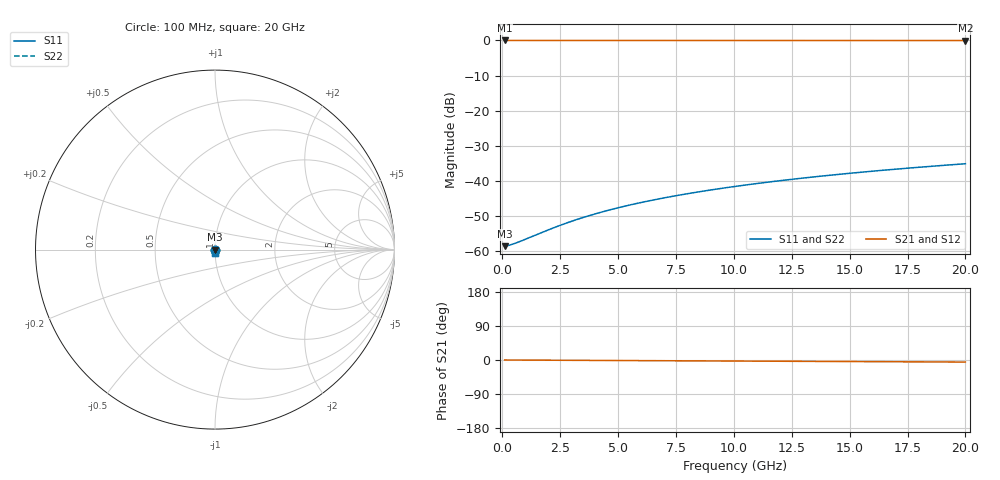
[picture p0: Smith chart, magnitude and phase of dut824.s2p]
! Touchstone file exported from HFSS 2026.1.0
!  File:  C:/ffzhzh/LocalFiles/Ansys_Project_Files/temp_train_TSV_824_1783184540_22436.aedt
!  Generated:  01:04:07 AM Jul  5, 2026
!  Design:  TSV
!  Project:  temp_train_TSV_824_1783184540_22436
! Variables:
!  h_bsmrdl = 2um
!  h_ox = 20um
!  h_rdl = 5um
!  h_sub = 58.23um
!  h_tmrdl = 5um
!  h_tsv = 58.23um
!  h_via = 3um
!  l_bsmrdl = 300um
!  l_sub = 404.82um
!  l_tmrdl = 200um
!  m_sub = 200um
!  pitch = 8.08um
!  r_tsv = 2.41um
!  s_tmrdl = 10um
!  w_bsmrdl = 18um
!  w_sub = 500um
!  w_tmrdl = 12um
!  x_tsv_center1 = 206um
!  x_tsv_center2 = 524um
!  x_tsv_center3 = 736um
!  x_tsv_center4 = 1054um
!  x_tsv_center5 = 1266um
!  x_tsv_center6 = 1584um
# GHz S MA R 50.000000
! Terminal data exported
! Port[1] = TSV1_1_T1
! Port[2] = TSV1_1_T2
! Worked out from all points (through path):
!   200 points, 100 MHz to 20 GHz, reference 50 ohm
!   highest |S21| = -0.01 dB at 100 MHz (marker M1); lowest = 0.0 dB at 20 GHz (marker M2)
!   lowest |S11| = -58.6 dB at 100 MHz (marker M3), VSWR 1.00, Z = 50.1 - j0.00454 ohm
!   |S11| at or under -10 dB: start of sweep to end of sweep
!   |S22| runs from -58.6 to -35.1 dB; largest |S21 - S12| = 1.1e-15
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0.1  0.001181 -2.2  0.9988 -0.0  0.9988 -0.0  0.001181 -2.2
! Gamma 0 0 0 0
! Port Impedance 50 0 50 0
0.3  0.001217 -6.9  0.9988 -0.1  0.9988 -0.1  0.001217 -6.9
0.5  0.001277 -12.2  0.9988 -0.1  0.9988 -0.1  0.001277 -12.2
0.9  0.001436 -23.1  0.9987 -0.3  0.9987 -0.3  0.001436 -23.1
1.8  0.001901 -42.4  0.9986 -0.5  0.9986 -0.5  0.001901 -42.4
2.3  0.002208 -49.5  0.9985 -0.6  0.9985 -0.6  0.002208 -49.5
2.9  0.002607 -55.8  0.9985 -0.8  0.9985 -0.8  0.002607 -55.8
3.5  0.003029 -60.3  0.9985 -1.0  0.9985 -1.0  0.003029 -60.3
4.2  0.003543 -64.2  0.9984 -1.2  0.9984 -1.2  0.003543 -64.2
5  0.004153 -67.4  0.9983 -1.4  0.9983 -1.4  0.004153 -67.4
5.9  0.004862 -70.1  0.9982 -1.6  0.9982 -1.6  0.004862 -70.1
6.8  0.005592 -72.1  0.9981 -1.9  0.9981 -1.9  0.005592 -72.1
7.6  0.006255 -73.5  0.998 -2.1  0.998 -2.1  0.006255 -73.5
8.4  0.006931 -74.7  0.9979 -2.3  0.9979 -2.3  0.006931 -74.7
9.2  0.007618 -75.7  0.9978 -2.5  0.9978 -2.5  0.007618 -75.7
10.1  0.008404 -76.7  0.9976 -2.8  0.9976 -2.8  0.008404 -76.7
11.7  0.009829 -78.2  0.9974 -3.2  0.9974 -3.2  0.009829 -78.2
13.4  0.01138 -79.6  0.9972 -3.7  0.9972 -3.7  0.01138 -79.6
15  0.01286 -80.7  0.9969 -4.1  0.9969 -4.1  0.01286 -80.7
16.7  0.01445 -81.8  0.9967 -4.6  0.9967 -4.6  0.01445 -81.8
18.3  0.01596 -82.8  0.9965 -5.0  0.9965 -5.0  0.01596 -82.8
20  0.01758 -83.8  0.9963 -5.5  0.9963 -5.5  0.01758 -83.8
